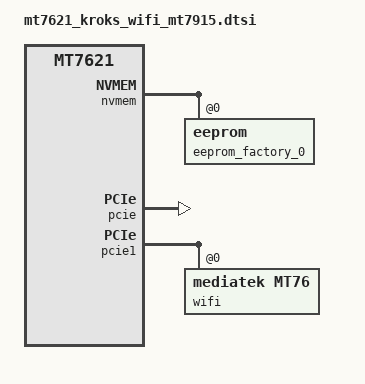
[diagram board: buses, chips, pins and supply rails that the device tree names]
#include "mt7621_kroks_v2.dtsi"

&state_default {
	gpio_leds {
		groups = "jtag";
		function = "gpio";
	};
};

&nvmem {
	/* MT7915 */
	eeprom_factory_0: eeprom@0 {
		reg = <0x0 0xe00>;
	};
};

&pcie {
	status = "okay";
};

&pcie1 {
	wifi@0,0 {
		compatible = "mediatek,mt76";
		reg = <0x0000 0 0 0 0>;
		mediatek,disable-radar-background;
		ieee80211-freq-limit = <2400000 2500000>, <5170000 5835000>;

		nvmem-cells = <&eeprom_factory_0>;
		nvmem-cell-names = "eeprom";

		led {
			led-active-low;
		};
	};
};
